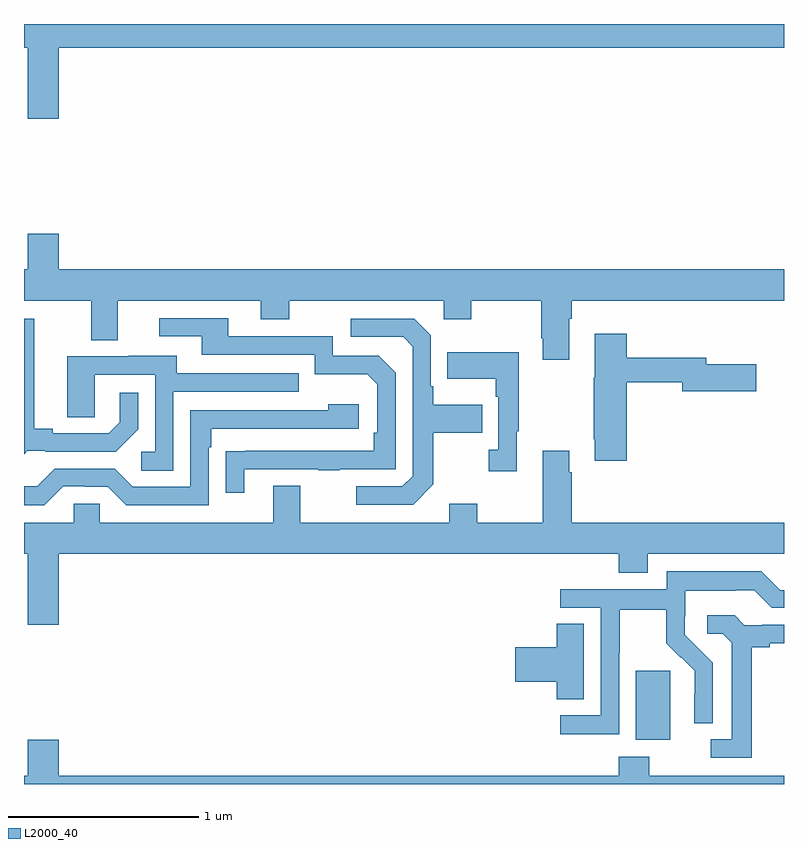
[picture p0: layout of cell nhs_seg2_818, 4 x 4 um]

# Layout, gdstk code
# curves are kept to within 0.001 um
import gdstk
lib = gdstk.Library(unit=1e-6, precision=1e-09)
def R(c, l, rs):  # rectangles x0, y0, x1, y1
    for r in rs: c.add(gdstk.rectangle(r[:2], r[2:], *l))
def P(c, l, *ps):  # polygons
    for p in ps: c.add(gdstk.Polygon(p, *l))
L2000_40 = (2000, 40)

nhs_seg2_818 = lib.new_cell('nhs_seg2_818')
R(nhs_seg2_818, L2000_40, [(156.221,604.034,156.4,604.395)])
P(nhs_seg2_818, L2000_40, [(153.184,607.676),(157,607.676),(157,607.8),(153,607.8),(153,607.676),(153.02,607.676),(153.02,607.302),(153.184,607.302)],
  [(155.869,606.248),(155.882,606.248),(155.882,606.344),(157,606.344),(157,606.508),(153.184,606.508),(153.184,606.697),(153.02,606.697),(153.02,606.508),(153,606.508),(153,606.344),(153.353,606.344),(153.353,606.136),(153.493,606.136),(153.493,606.344),(154.247,606.344),(154.247,606.245),(154.395,606.245),(154.395,606.344),(155.208,606.344),(155.208,606.245),(155.355,606.245),(155.355,606.344),(155.722,606.344),(155.722,606.145),(155.729,606.145),(155.729,606.033),(155.869,606.033)],
  [(154.159,605.457),(154.549,605.457),(154.549,605.452),(154.661,605.452),(154.661,605.457),(154.956,605.457),(154.956,605.964),(154.866,606.054),(154.626,606.054),(154.626,606.156),(154.075,606.156),(154.075,606.252),(153.711,606.252),(153.711,606.156),(153.935,606.156),(153.935,606.06),(154.53,606.06),(154.53,605.957),(154.807,605.957),(154.86,605.904),(154.86,605.65),(154.84,605.65),(154.84,605.553),(154.063,605.552),(154.063,605.334),(154.159,605.334)],
  [(153.018,605.553),(153.112,605.553),(153.112,605.55),(153.484,605.55),(153.6,605.666),(153.6,605.86),(153.503,605.86),(153.503,605.703),(153.446,605.646),(153.151,605.646),(153.151,605.669),(153.055,605.669),(153.055,606.249),(153,606.249),(153,605.535)],
  [(155.155,605.377),(155.155,605.65),(155.411,605.65),(155.411,605.797),(155.155,605.797),(155.155,605.893),(155.142,605.893),(155.142,606.162),(155.055,606.249),(154.719,606.249),(154.719,606.153),(154.995,606.153),(155.046,606.102),(155.046,605.421),(154.992,605.367),(154.749,605.367),(154.749,605.271),(155.049,605.271)],
  [(156.173,605.914),(156.464,605.914),(156.464,605.867),(156.853,605.867),(156.853,606.009),(156.592,606.009),(156.592,606.043),(156.173,606.043),(156.173,606.169),(156.005,606.169),(156.005,605.937),(155.998,605.937),(155.998,605.614),(156.005,605.614),(156.005,605.502),(156.173,605.502)],
  [(155.593,605.657),(155.605,605.657),(155.605,606.073),(155.227,606.073),(155.227,605.933),(155.484,605.933),(155.484,605.837),(155.496,605.837),(155.496,605.558),(155.445,605.558),(155.445,605.445),(155.593,605.445)],
  [(153.786,605.865),(154.445,605.865),(154.445,605.961),(153.805,605.961),(153.805,606.055),(153.551,606.055),(153.551,606.051),(153.227,606.051),(153.227,605.731),(153.372,605.731),(153.372,605.955),(153.69,605.955),(153.69,605.55),(153.618,605.55),(153.618,605.449),(153.786,605.449)],
  [(153.207,605.367),(153.323,605.367),(153.323,605.364),(153.441,605.364),(153.537,605.268),(153.972,605.268),(153.972,605.573),(153.985,605.573),(153.985,605.67),(154.762,605.67),(154.762,605.8),(154.601,605.8),(154.601,605.766),(153.876,605.766),(153.876,605.364),(153.573,605.364),(153.477,605.46),(153.162,605.46),(153.069,605.367),(153,605.367),(153,605.267),(153.107,605.267)],
  [(153.184,605.012),(156.131,605.012),(156.131,604.913),(156.283,604.913),(156.283,605.012),(157,605.012),(157,605.176),(155.882,605.176),(155.882,605.441),(155.869,605.441),(155.869,605.554),(155.729,605.554),(155.729,605.176),(155.385,605.176),(155.385,605.275),(155.237,605.275),(155.237,605.176),(154.453,605.176),(154.453,605.371),(154.313,605.371),(154.313,605.176),(153.399,605.176),(153.399,605.274),(153.261,605.274),(153.261,605.176),(153,605.176),(153,605.012),(153.02,605.012),(153.02,604.638),(153.184,604.638)],
  [(156.132,604.492),(156.135,604.492),(156.135,604.716),(156.379,604.716),(156.379,604.541),(156.456,604.464),(156.459,604.467),(156.53,604.397),(156.53,604.274),(156.528,604.274),(156.528,604.12),(156.624,604.12),(156.624,604.438),(156.478,604.586),(156.478,604.683),(156.48,604.683),(156.48,604.817),(156.743,604.817),(156.743,604.821),(156.843,604.821),(156.936,604.728),(157,604.728),(157,604.821),(156.981,604.821),(156.881,604.921),(156.384,604.921),(156.384,604.824),(155.823,604.824),(155.823,604.728),(156.036,604.728),(156.036,604.161),(155.823,604.161),(155.823,604.063),(156.132,604.063)],
  [(156.829,604.52),(156.925,604.52),(156.925,604.542),(157,604.542),(157,604.638),(156.886,604.638),(156.886,604.635),(156.792,604.635),(156.74,604.687),(156.597,604.687),(156.597,604.59),(156.678,604.59),(156.725,604.543),(156.725,604.035),(156.615,604.035),(156.615,603.939),(156.829,603.939)],
  [(155.947,604.643),(155.804,604.643),(155.804,604.52),(155.586,604.52),(155.586,604.337),(155.804,604.337),(155.804,604.246),(155.947,604.246)],
  [(153.184,604.033),(153.02,604.033),(153.02,603.844),(153,603.844),(153,603.8),(157,603.8),(157,603.844),(156.291,603.844),(156.291,603.943),(156.131,603.943),(156.131,603.844),(153.184,603.844)])

lib.write_gds('nhs_seg2_818.gds')
